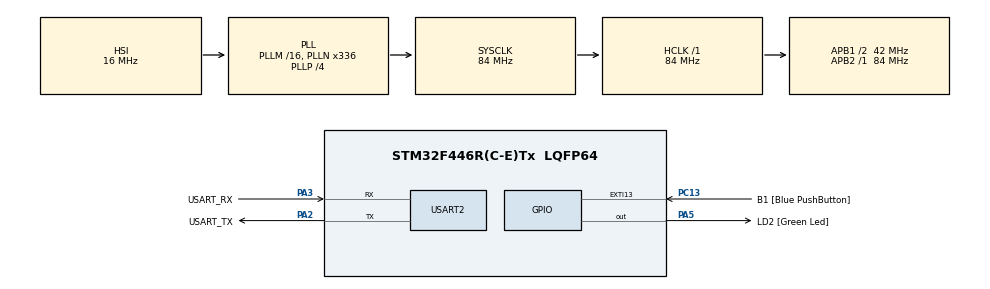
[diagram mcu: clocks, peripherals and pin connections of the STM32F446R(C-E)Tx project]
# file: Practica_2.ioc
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Mcu.Family=STM32F4
Mcu.Name=STM32F446R(C-E)Tx
Mcu.Package=LQFP64
NVIC.PriorityGroup=NVIC_PRIORITYGROUP_0
PA13.GPIO_Label=TMS
PA13.Mode=Serial_Wire
PA13.Signal=SYS_JTMS-SWDIO
PA14.GPIO_Label=TCK
PA14.Mode=Serial_Wire
PA14.Signal=SYS_JTCK-SWCLK
PA2.GPIO_Label=USART_TX
PA2.Mode=Asynchronous
PA2.Signal=USART2_TX
PA3.GPIO_Label=USART_RX
PA3.Mode=Asynchronous
PA3.Signal=USART2_RX
PA5.GPIO_Label=LD2 [Green Led]
PA5.Signal=GPIO_Output
PB3.GPIO_Label=SWO
PB3.Signal=SYS_JTDO-SWO
PC13.GPIO_Label=B1 [Blue PushButton]
PC13.GPIO_ModeDefaultEXTI=GPIO_MODE_IT_FALLING
PC13.Signal=GPXTI13
PC14-OSC32_IN.Mode=LSE-External-Oscillator
PC14-OSC32_IN.Signal=RCC_OSC32_IN
PC15-OSC32_OUT.Mode=LSE-External-Oscillator
PC15-OSC32_OUT.Signal=RCC_OSC32_OUT
PH0-OSC_IN.Mode=HSE-External-Oscillator
PH0-OSC_IN.Signal=RCC_OSC_IN
PH1-OSC_OUT.Mode=HSE-External-Oscillator
PH1-OSC_OUT.Signal=RCC_OSC_OUT
ProjectManager.HeapSize=0x200
ProjectManager.StackSize=0x400
ProjectManager.TargetToolchain=STM32CubeIDE
RCC.48MHZClocksFreq_Value=84000000
RCC.AHBFreq_Value=84000000
RCC.APB1CLKDivider=RCC_HCLK_DIV2
RCC.APB1Freq_Value=42000000
RCC.APB1TimFreq_Value=84000000
RCC.APB2Freq_Value=84000000
RCC.APB2TimFreq_Value=84000000
RCC.CortexFreq_Value=84000000
RCC.FLatency-AdvancedSettings=FLASH_LATENCY_2
RCC.HCLKFreq_Value=84000000
RCC.HSE_VALUE=8000000
RCC.HSI_VALUE=16000000
RCC.PLLN=336
RCC.PLLP=RCC_PLLP_DIV4
RCC.SYSCLKFreq_VALUE=84000000
RCC.SYSCLKSource=RCC_SYSCLKSOURCE_PLLCLK
RCC.USBFreq_Value=168000000
RCC.VCOOutputFreq_Value=336000000
USART2.VirtualMode=VM_ASYNC
board=NUCLEO-F446RE

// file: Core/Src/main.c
/* USER CODE BEGIN Header */
/**
  ******************************************************************************
  * @file           : main.c
  * @brief          : Main program body
  ******************************************************************************
  * @attention
  *
  * Copyright (c) 2026 STMicroelectronics.
  * All rights reserved.
  *
  * This software is licensed under terms that can be found in the LICENSE file
  * in the root directory of this software component.
  * If no LICENSE file comes with this software, it is provided AS-IS.
  *
  ******************************************************************************
  */
/* USER CODE END Header */
#include "main.h"

UART_HandleTypeDef huart2;

void SystemClock_Config(void);
static void MX_GPIO_Init(void);
static void MX_USART2_UART_Init(void);

/* USER CODE BEGIN 0 */

void delayInit(delay_t* delay, tick_t duration)
{
  if(delay == NULL) { return; }
  delay->duration = duration;
  delay->startTime = 0;
  delay->running = false;
}

bool_t delayRead(delay_t *delay)
{
  /// verify that pointer to delay is valid
  if(delay == NULL ) { return false; }
  if(delay->running) {
    if(HAL_GetTick() - delay->startTime >= delay->duration) {
      delay->running = false;
      return true;
    }
  } else {
    delay->startTime = HAL_GetTick();
    delay->running = true;
  }
  return false;
}

void delayWrite(delay_t* delay, tick_t duration)
{
  if(delay == NULL ) { return; }
  delay->duration = duration;
}

void sequence(uint32_t times,uint32_t period,uint16_t duty){
	uint8_t i=0;
	delay_t delay;
	tick_t dur = period / (100/duty); //
	delayInit(&delay, dur); // cargo el valor de la duracion del delay

	while(i<times*2){
		if(delayRead(&delay)){
			HAL_GPIO_TogglePin(LD2_GPIO_Port, LD2_Pin);
			i++;
		}
	}

}

/* USER CODE END 0 */

int main(void)
{

  /* MCU Configuration--------------------------------------------------------*/

  /* Reset of all peripherals, Initializes the Flash interface and the Systick. */
  HAL_Init();

  /* Configure the system clock */
  SystemClock_Config();

  /* Initialize all configured peripherals */
  MX_GPIO_Init();
  MX_USART2_UART_Init();
  /* USER CODE BEGIN 2 */

  //esto que sigue seria para el punto 2

  //delay_t delay; //creo la variable de la estructura pero no en NULL
  //tick_t dur = 1000; //los 100 ms del punto 2
  //delayInit(&delay, dur); // cargo el valor de la duracion del delay

  //esto que sigue es del punto 3

  uint32_t tiempos[3] = {1000, 200, 100}; //defino los tiempos en un array
  uint32_t cantidadParpadeos = 5;
  uint8_t duty = 50;
  uint8_t j;

  /* USER CODE END 2 */

  /* Infinite loop */
  /* USER CODE BEGIN WHILE */
  while (1)
  {
	  //if(delayRead(&delay)){ //chequeo si se cumplio el tiempo de delay
		  //HAL_GPIO_TogglePin(LD2_GPIO_Port, LD2_Pin); //toggle led
	  //}
	  //esto es para el punto 3, en donde cree la funcion sequence para cada patron.
	  j=0;
	  while( j < sizeof(tiempos)/sizeof(tiempos[0])){

		  sequence(cantidadParpadeos,tiempos[j],duty);

		  j++;
	  }
    /* USER CODE END WHILE */

  }
}

void SystemClock_Config(void)
{
  RCC_OscInitTypeDef RCC_OscInitStruct = {0};
  RCC_ClkInitTypeDef RCC_ClkInitStruct = {0};

  /** Configure the main internal regulator output voltage
  */
  __HAL_RCC_PWR_CLK_ENABLE();
  __HAL_PWR_VOLTAGESCALING_CONFIG(PWR_REGULATOR_VOLTAGE_SCALE3);

  /** Initializes the RCC Oscillators according to the specified parameters
  * in the RCC_OscInitTypeDef structure.
  */
  RCC_OscInitStruct.OscillatorType = RCC_OSCILLATORTYPE_HSI;
  RCC_OscInitStruct.HSIState = RCC_HSI_ON;
  RCC_OscInitStruct.HSICalibrationValue = RCC_HSICALIBRATION_DEFAULT;
  RCC_OscInitStruct.PLL.PLLState = RCC_PLL_ON;
  RCC_OscInitStruct.PLL.PLLSource = RCC_PLLSOURCE_HSI;
  RCC_OscInitStruct.PLL.PLLM = 16;
  RCC_OscInitStruct.PLL.PLLN = 336;
  RCC_OscInitStruct.PLL.PLLP = RCC_PLLP_DIV4;
  RCC_OscInitStruct.PLL.PLLQ = 2;
  RCC_OscInitStruct.PLL.PLLR = 2;
  if (HAL_RCC_OscConfig(&RCC_OscInitStruct) != HAL_OK)
  {
    Error_Handler();
  }

  /** Initializes the CPU, AHB and APB buses clocks
  */
  RCC_ClkInitStruct.ClockType = RCC_CLOCKTYPE_HCLK|RCC_CLOCKTYPE_SYSCLK
                              |RCC_CLOCKTYPE_PCLK1|RCC_CLOCKTYPE_PCLK2;
  RCC_ClkInitStruct.SYSCLKSource = RCC_SYSCLKSOURCE_PLLCLK;
  RCC_ClkInitStruct.AHBCLKDivider = RCC_SYSCLK_DIV1;
  RCC_ClkInitStruct.APB1CLKDivider = RCC_HCLK_DIV2;
  RCC_ClkInitStruct.APB2CLKDivider = RCC_HCLK_DIV1;

  if (HAL_RCC_ClockConfig(&RCC_ClkInitStruct, FLASH_LATENCY_2) != HAL_OK)
  {
    Error_Handler();
  }
}

static void MX_USART2_UART_Init(void)
{

  huart2.Instance = USART2;
  huart2.Init.BaudRate = 115200;
  huart2.Init.WordLength = UART_WORDLENGTH_8B;
  huart2.Init.StopBits = UART_STOPBITS_1;
  huart2.Init.Parity = UART_PARITY_NONE;
  huart2.Init.Mode = UART_MODE_TX_RX;
  huart2.Init.HwFlowCtl = UART_HWCONTROL_NONE;
  huart2.Init.OverSampling = UART_OVERSAMPLING_16;
  if (HAL_UART_Init(&huart2) != HAL_OK)
  {
    Error_Handler();
  }

}

static void MX_GPIO_Init(void)
{
  GPIO_InitTypeDef GPIO_InitStruct = {0};

  /* GPIO Ports Clock Enable */
  __HAL_RCC_GPIOC_CLK_ENABLE();
  __HAL_RCC_GPIOH_CLK_ENABLE();
  __HAL_RCC_GPIOA_CLK_ENABLE();
  __HAL_RCC_GPIOB_CLK_ENABLE();

  /*Configure GPIO pin Output Level */
  HAL_GPIO_WritePin(LD2_GPIO_Port, LD2_Pin, GPIO_PIN_RESET);

  /*Configure GPIO pin : B1_Pin */
  GPIO_InitStruct.Pin = B1_Pin;
  GPIO_InitStruct.Mode = GPIO_MODE_IT_FALLING;
  GPIO_InitStruct.Pull = GPIO_NOPULL;
  HAL_GPIO_Init(B1_GPIO_Port, &GPIO_InitStruct);

  /*Configure GPIO pin : LD2_Pin */
  GPIO_InitStruct.Pin = LD2_Pin;
  GPIO_InitStruct.Mode = GPIO_MODE_OUTPUT_PP;
  GPIO_InitStruct.Pull = GPIO_NOPULL;
  GPIO_InitStruct.Speed = GPIO_SPEED_FREQ_LOW;
  HAL_GPIO_Init(LD2_GPIO_Port, &GPIO_InitStruct);

}

void Error_Handler(void)
{
  __disable_irq();
  while (1)
  {
  }
}
